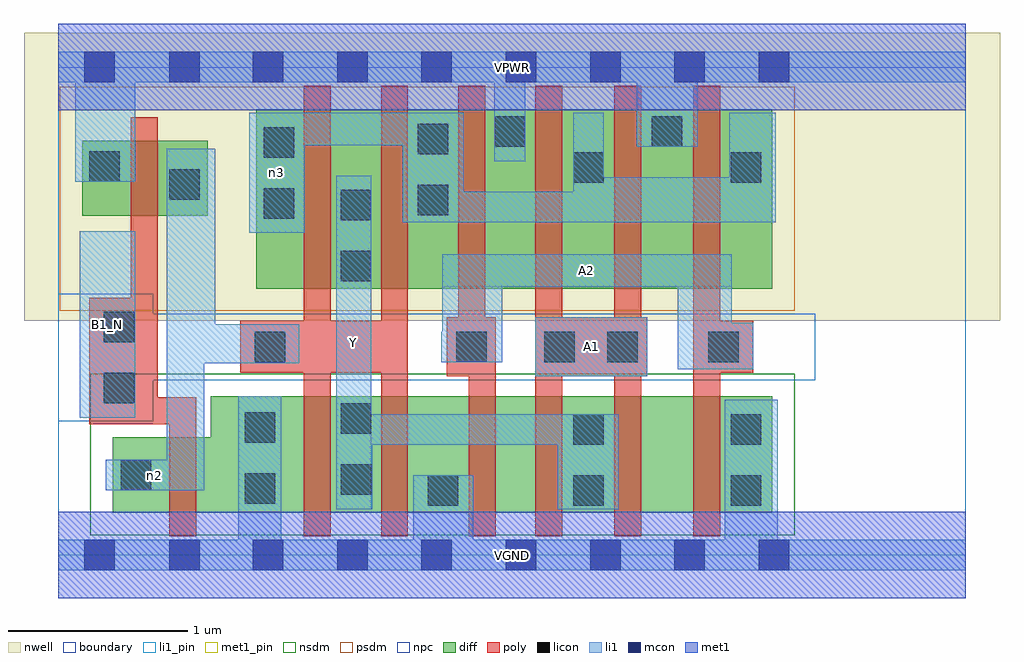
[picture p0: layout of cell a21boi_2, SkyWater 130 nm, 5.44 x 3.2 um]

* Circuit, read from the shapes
.subckt a21boi_2 A1 A2 B1_N VGND VPWR Y n2 n3
XM1 VGND B1_N n2 VSUBS sky130_fd_pr__nfet_01v8 w=0.42 l=0.15
XM2 Y n2 VGND VSUBS sky130_fd_pr__nfet_01v8 w=0.65 l=0.15 m=2
XM3 n1 A2 VGND VSUBS sky130_fd_pr__nfet_01v8 w=0.65 l=0.15
XM4 Y A1 n1 VSUBS sky130_fd_pr__nfet_01v8 w=0.65 l=0.15
XM5 n4 A1 Y VSUBS sky130_fd_pr__nfet_01v8 w=0.65 l=0.15
XM6 VGND A2 n4 VSUBS sky130_fd_pr__nfet_01v8 w=0.65 l=0.15
XM7 n2 B1_N VPWR n5 sky130_fd_pr__pfet_01v8 w=0.42 l=0.15
XM8 Y n2 n3 n5 sky130_fd_pr__pfet_01v8 w=1 l=0.15 m=2
XM9 VPWR A2 n3 n5 sky130_fd_pr__pfet_01v8 w=1 l=0.15 m=2
XM10 n3 A1 VPWR n5 sky130_fd_pr__pfet_01v8 w=1 l=0.15 m=2
.ends

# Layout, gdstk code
import gdstk
lib = gdstk.Library(unit=1e-6, precision=1e-09)
def R(c, l, rs):  # rectangles x0, y0, x1, y1
    for r in rs: c.add(gdstk.rectangle(r[:2], r[2:], *l))
def A(c, l, x, y, w, h, nx, ny, dx, dy):  # array of equal rectangles
    R(c, l, [(x+i*dx, y+j*dy, x+i*dx+w, y+j*dy+h) for i in range(nx) for j in range(ny)])
nwell = (64, 20)
diff = (65, 20)
poly = (66, 20)
licon = (66, 44)
li1_pin = (67, 16)
li1 = (67, 20)
mcon = (67, 44)
met1_pin = (68, 16)
met1 = (68, 20)
nsdm = (93, 44)
psdm = (94, 20)
npc = (95, 20)
boundary = (235, 4)

a21boi_2 = lib.new_cell('a21boi_2')
R(a21boi_2, nwell, [(-0.19,1.305,5.25,2.91), (0,1.305,5.06,2.91)])
R(a21boi_2, diff, [(0.305,0.235,3.98,0.655), (0.85,0.235,3.98,0.885), (1.105,1.485,3.98,2.485), (0.135,1.89,0.835,2.31)])
A(a21boi_2, poly, 2.66, 0.105, 0.15, 2.51, 3, 1, 0.44, 0)
R(a21boi_2, poly, [(0.62,0.105,0.77,0.88), (1.37,0.105,1.52,2.615), (1.8,0.105,1.95,2.615), (2.29,0.105,2.44,1.325), (0.175,0.73,0.555,1.435), (0.175,0.73,0.77,0.88), (0.405,0.73,0.555,2.44), (2.165,0.995,2.44,1.325), (2.23,0.995,2.38,2.615), (2.66,0.995,3.285,1.325), (1.015,1.015,1.95,1.305), (3.54,1.015,3.875,1.305)])
R(a21boi_2, licon, [(2.06,0.275,2.23,0.445), (2.87,0.275,3.04,0.445), (3.75,0.275,3.92,0.445), (1.04,0.285,1.21,0.455), (1.575,0.335,1.745,0.505), (0.35,0.36,0.52,0.53), (2.87,0.615,3.04,0.785), (3.75,0.615,3.92,0.785), (1.04,0.625,1.21,0.795), (1.575,0.675,1.745,0.845), (0.255,0.845,0.425,1.015), (1.095,1.075,1.265,1.245), (2.22,1.075,2.39,1.245), (2.71,1.075,2.88,1.245), (3.06,1.075,3.23,1.245), (3.625,1.075,3.795,1.245), (0.255,1.185,0.425,1.355), (1.575,1.525,1.745,1.695), (1.575,1.865,1.745,2.035), (1.145,1.875,1.315,2.045), (2.005,1.895,2.175,2.065), (0.62,1.98,0.79,2.15), (2.87,2.075,3.04,2.245), (3.75,2.075,3.92,2.245), (0.175,2.08,0.345,2.25), (1.145,2.215,1.315,2.385), (2.005,2.235,2.175,2.405), (2.435,2.275,2.605,2.445), (3.31,2.275,3.48,2.445)])
R(a21boi_2, li1_pin, [(1.55,0.255,1.745,2.115), (0.12,0.765,0.43,1.805), (2.66,0.995,3.285,1.325), (2.14,1.495,3.755,1.675)])
R(a21boi_2, li1, [(0,-0.085,5.06,0.085), (1.005,-0.085,1.245,0.885), (1.98,-0.085,2.315,0.445), (3.715,-0.085,4.01,0.865), (1.55,0.255,1.745,2.115), (1.55,0.255,1.75,0.785), (2.785,0.255,3.125,0.785), (0.265,0.36,0.815,0.53), (0.605,0.36,0.815,2.265), (1.55,0.615,3.125,0.785), (0.12,0.765,0.43,1.805), (2.66,0.995,3.285,1.325), (3.455,1.035,3.755,1.675), (3.455,1.035,3.875,1.295), (0.605,1.07,1.345,1.285), (0.605,1.07,0.875,2.265), (2.135,1.075,2.475,1.245), (2.14,1.075,2.475,1.675), (2.14,1.495,3.755,1.675), (1.065,1.795,1.375,2.465), (1.92,1.855,4,2.025), (1.92,1.855,2.26,2.465), (2.87,1.855,3.04,2.465), (2.87,1.855,4,2.105), (3.74,1.855,4,2.465), (0.095,2.08,0.43,2.805), (2.43,2.195,2.605,2.805), (3.225,2.275,3.565,2.805), (1.065,2.285,2.26,2.465), (0,2.635,5.06,2.805)])
A(a21boi_2, mcon, 1.085, -0.085, 0.17, 0.17, 7, 2, 0.47, 2.72)
R(a21boi_2, mcon, [(0.145,-0.085,0.315,0.085), (0.62,-0.085,0.79,0.085), (0.145,2.635,0.315,2.805), (0.62,2.635,0.79,2.805)])
R(a21boi_2, met1_pin, [(0,-0.24,5.06,0.24), (0,2.48,5.06,2.96)])
R(a21boi_2, met1, [(0,-0.24,5.06,0.24), (0,2.48,5.06,2.96)])
R(a21boi_2, nsdm, [(0.18,0.11,4.105,1.01)])
R(a21boi_2, psdm, [(0.01,1.36,4.105,2.61)])
R(a21boi_2, npc, [(0,0.745,0.53,1.455), (0,0.975,4.22,1.345)])
R(a21boi_2, boundary, [(0,0,5.06,2.72)])
a21boi_2.add(gdstk.Label('A1', (2.972,1.16), layer=67, texttype=5))
a21boi_2.add(gdstk.Label('A2', (2.947,1.585), layer=67, texttype=5))
a21boi_2.add(gdstk.Label('B1_N', (0.275,1.285), layer=67, texttype=5))
a21boi_2.add(gdstk.Label('Y', (1.647,1.185), layer=67, texttype=5))
a21boi_2.add(gdstk.Label('n2', (0.54,0.445), layer=67, texttype=5))
a21boi_2.add(gdstk.Label('n3', (1.22,2.13), layer=67, texttype=5))
a21boi_2.add(gdstk.Label('VPWR', (2.53,2.72), layer=68, texttype=5))
a21boi_2.add(gdstk.Label('VGND', (2.53,0), layer=68, texttype=5))
a21boi_2.add(gdstk.Label('A1', (2.972,1.16), layer=67, texttype=16))
a21boi_2.add(gdstk.Label('A2', (2.947,1.585), layer=67, texttype=16))
a21boi_2.add(gdstk.Label('B1_N', (0.275,1.285), layer=67, texttype=16))
a21boi_2.add(gdstk.Label('Y', (1.647,1.185), layer=67, texttype=16))
a21boi_2.add(gdstk.Label('VPWR', (2.53,2.72), layer=68, texttype=16))
a21boi_2.add(gdstk.Label('VGND', (2.53,0), layer=68, texttype=16))

lib.write_gds('a21boi_2.gds')
